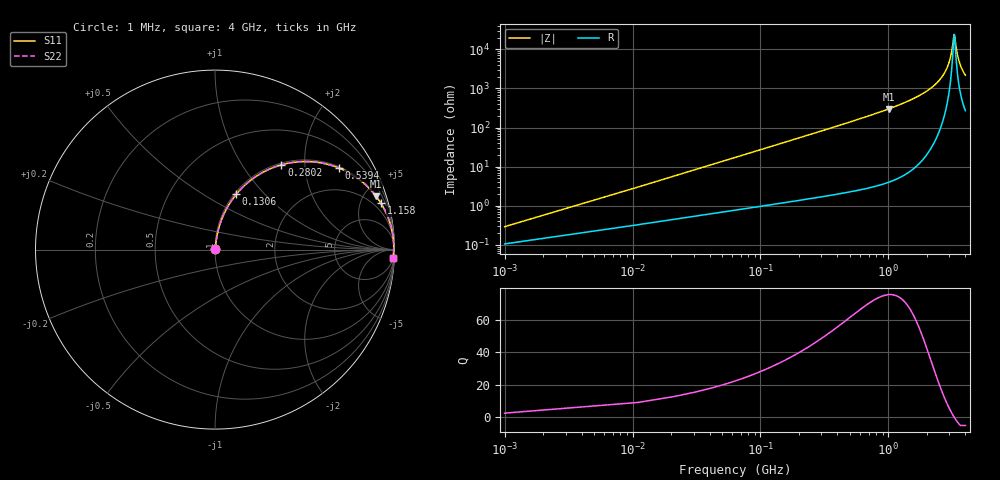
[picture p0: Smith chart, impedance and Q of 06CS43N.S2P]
! Coilcraft 0603CS-43N Chip Inductor
! 21 May 2002
# MHZ S MA R 50
!Freq  MagS11  AngS11  MagS21  AngS21  MagS12  AngS12  MagS22  AngS22
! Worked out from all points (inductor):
!   403 points, 1 MHz to 4 GHz, reference 50 ohm
!   read as one part in series: L = 43 nH near 20.94 MHz
!   highest Q = 75.4 at 1.008 GHz (marker M1), where L = 47.5 nH
!   self-resonance near 3.271 GHz
!   S11 on the Smith chart (normalised r, x): 1 MHz: 1.00, +0.01; 130.6 MHz: 1.02, +0.71; 280.2 MHz: 1.03, +1.53; 539.4 MHz: 1.05, +3.00; 1.158 GHz: 1.10, +7.15; 4 GHz: 6, -43
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1  0.002896 68.6  0.9989 -0.2  0.9989 -0.2  0.002896 68.6
30.91  0.08296 81.6  0.9912 -4.7  0.9912 -4.7  0.08296 81.6
40.88  0.1093 80.5  0.9879 -6.3  0.9879 -6.3  0.1093 80.5
80.76  0.2117 75.5  0.969 -12.2  0.969 -12.2  0.2117 75.5
130.61  0.3302 68.9  0.9337 -19.3  0.9337 -19.3  0.3302 68.9
280.16  0.6003 51.9  0.7871 -36.9  0.7871 -36.9  0.6003 51.9
539.38  0.8257 33.4  0.5512 -55.7  0.5512 -55.7  0.8257 33.4
668.99  0.8783 27.7  0.4656 -61.4  0.4656 -61.4  0.8783 27.7
1007.97  0.9452 18.3  0.3141 -70.9  0.3141 -70.9  0.9452 18.3
1157.52  0.9597 15.6  0.2685 -73.7  0.2685 -73.7  0.9597 15.6
1336.98  0.9714 12.9  0.2241 -76.2  0.2241 -76.2  0.9714 12.9
2004.97  0.9907 6.6  0.1143 -82.1  0.1143 -82.1  0.9907 6.6
2672.96  0.9957 2.6  0.04607 -83.3  0.04607 -83.3  0.9957 2.6
3021.91  0.9961 1.0  0.01844 -77.4  0.01844 -77.4  0.9961 1.0
3131.58  0.9961 0.6  0.01075 -68.2  0.01075 -68.2  0.9961 0.6
3261.19  0.9959 0.1  0.004204 -12.2  0.004204 -12.2  0.9959 0.1
3291.1  0.9958 -0.1  0.00432 15.5  0.00432 15.5  0.9958 -0.1
3340.95  0.9957 -0.3  0.006221 46.6  0.006221 46.6  0.9957 -0.3
3450.62  0.9955 -0.7  0.01262 68.6  0.01262 68.6  0.9955 -0.7
3580.23  0.9951 -1.2  0.02065 75.7  0.02065 75.7  0.9951 -1.2
3759.69  0.9944 -1.8  0.03156 78.9  0.03156 78.9  0.9944 -1.8
4000  0.9933 -2.6  0.04556 80.3  0.04556 80.3  0.9933 -2.6
